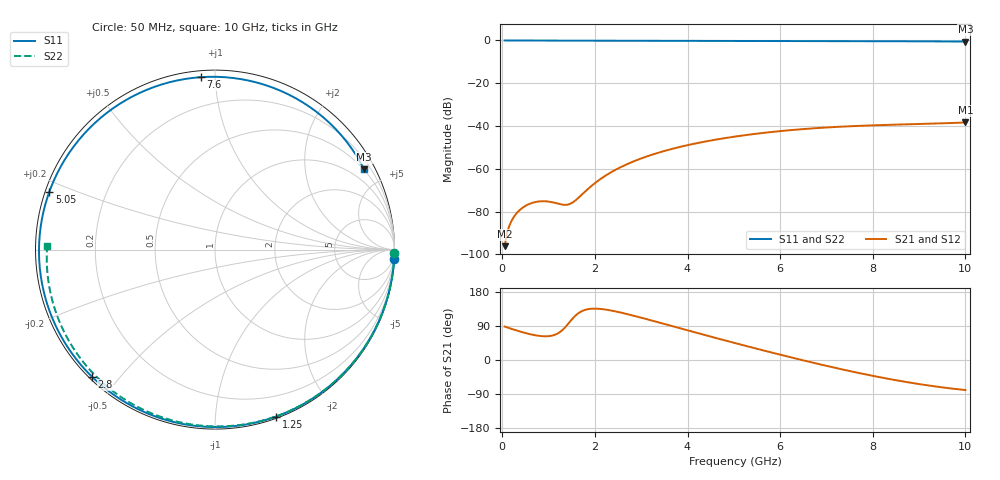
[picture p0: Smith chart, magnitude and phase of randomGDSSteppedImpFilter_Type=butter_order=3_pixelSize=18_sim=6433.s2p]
! freq	dB(S11)	phase(S11)	dB(S12)	phase(S12)
!  dB(S21)	phase(S21)	dB(S22)	phase(S22)
!S-par simulation data
#  GHz  S  DB  R 50
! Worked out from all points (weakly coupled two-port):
!   200 points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, 50 MHz to 10 GHz, reference 50 ohm
!   highest |S21| = -38.36 dB at 10 GHz (marker M1); lowest = -96.2 dB at 50 MHz (marker M2)
!   lowest |S11| = -0.5 dB at 10 GHz (marker M3), VSWR 34.34, Z = 23.9 + j195 ohm
!   |S11| at or under -10 dB: nowhere
!   |S22| runs from -0.6 to 0.0 dB; largest |S21 - S12| = 0
!   S11 on the Smith chart (normalised r, x): 50 MHz: 0, -38; 1.25 GHz: 0.01, -1.43; 2.8 GHz: 0.01, -0.42; 5.05 GHz: 0.01, +0.17; 7.6 GHz: 0.03, +0.92; 10 GHz: 0.48, +3.90
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0.05  -0.00 -3.0  -96.20 88.3  -96.20 88.3  -0.00 -1.1
0.35  -0.03 -20.7  -79.85 76.4  -79.85 76.4  -0.01 -7.4
0.55  -0.04 -32.3  -76.79 69.6  -76.79 69.6  -0.01 -11.5
0.8  -0.06 -46.3  -75.27 63.6  -75.27 63.6  -0.02 -16.7
1  -0.07 -57.1  -75.35 62.9  -75.35 62.9  -0.03 -20.9
1.25  -0.08 -69.9  -76.56 74.1  -76.56 74.1  -0.03 -26.0
1.4  -0.09 -77.2  -76.82 92.1  -76.82 92.1  -0.04 -29.1
1.5  -0.09 -82.0  -76.03 106.8  -76.03 106.8  -0.04 -31.1
1.75  -0.10 -93.4  -71.44 130.6  -71.44 130.6  -0.05 -36.2
2.2  -0.11 -112.1  -63.63 133.6  -63.63 133.6  -0.06 -45.2
2.8  -0.13 -134.0  -56.87 118.0  -56.87 118.0  -0.07 -57.0
3.4  -0.14 -153.4  -52.31 98.4  -52.31 98.4  -0.09 -68.4
3.8  -0.15 -165.3  -49.97 85.0  -49.97 85.0  -0.10 -75.8
4.2  -0.17 -176.6  -48.04 71.6  -48.04 71.6  -0.12 -83.1
5.05  -0.20 160.7  -44.87 43.8  -44.87 43.8  -0.15 -98.2
5.85  -0.23 140.1  -42.72 18.6  -42.72 18.6  -0.19 -111.9
6.7  -0.27 118.3  -41.12 -6.9  -41.12 -6.9  -0.24 -126.0
7.15  -0.30 106.5  -40.51 -19.6  -40.51 -19.6  -0.28 -133.4
7.6  -0.32 94.6  -40.03 -31.7  -40.03 -31.7  -0.32 -140.8
8.35  -0.36 74.4  -39.45 -50.0  -39.45 -50.0  -0.39 -153.2
9.15  -0.42 52.2  -38.98 -66.3  -38.98 -66.3  -0.48 -166.6
10  -0.51 28.4  -38.36 -79.3  -38.36 -79.3  -0.58 178.6
